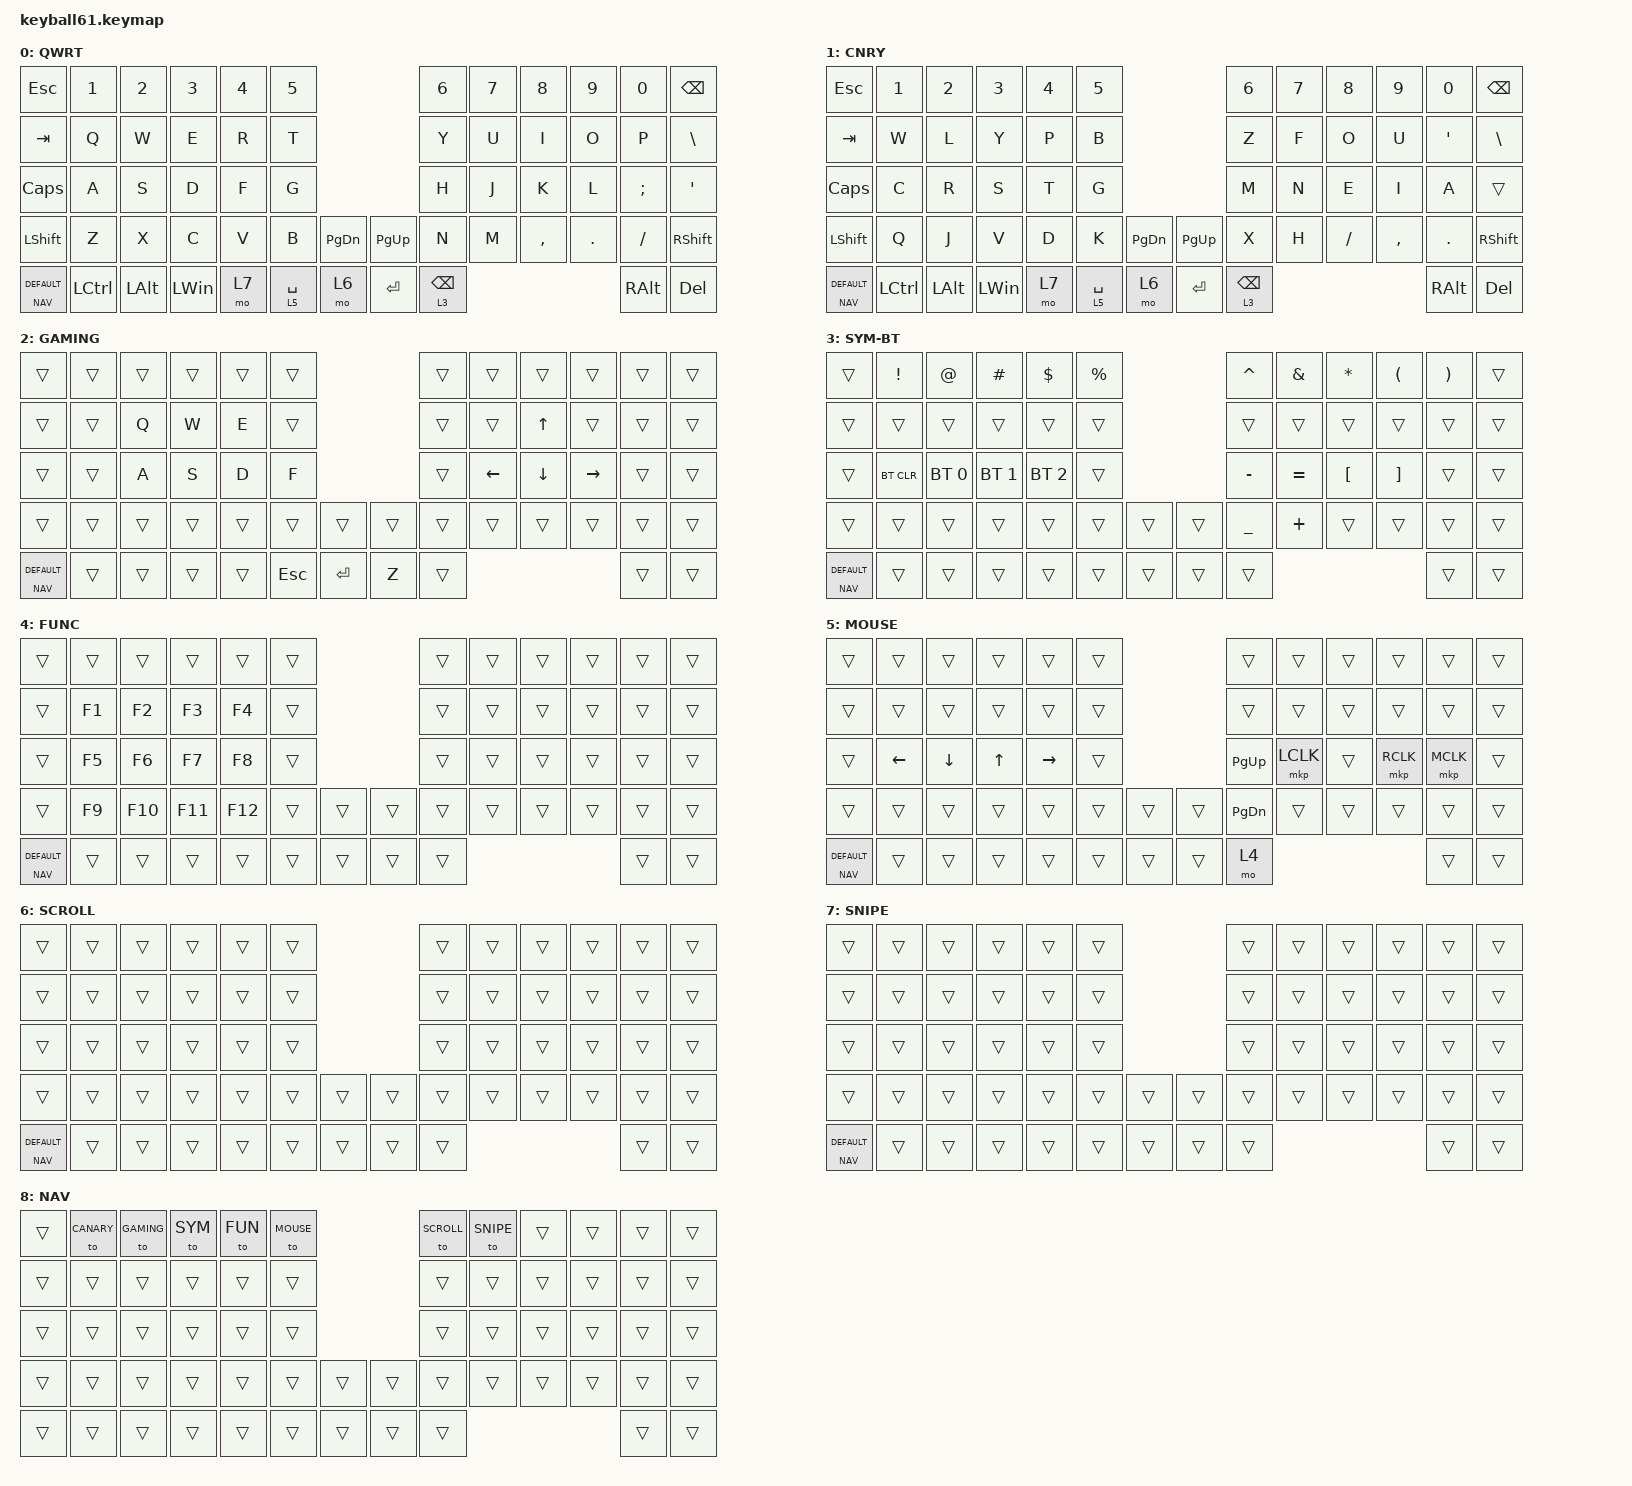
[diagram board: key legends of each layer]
#define DEFAULT 0   
#define CANARY  1
#define GAMING  2
#define SYM     3
#define FUN     4
#define MOUSE   5
#define SCROLL  6
#define SNIPE   7
#define NAV     8

#include <behaviors/mouse_keys.dtsi>
#include <behaviors.dtsi>
#include <dt-bindings/zmk/bt.h>
#include <dt-bindings/zmk/keys.h>
#include <dt-bindings/zmk/mouse.h>

&lt {
    tapping-term-ms = <240>;
    flavor = "balanced";
    quick-tap-ms = <150>;
};

&mt {
    tapping-term-ms = <200>;
    flavor = "tap-preferred";
    quick-tap-ms = <150>;
};

/ {

    behaviors {
        nav_tap: navigation_layer_tap {
            compatible = "zmk,behavior-hold-tap";
            #binding-cells = <2>;
            flavor = "tap-preferred";
            tapping-term-ms = <200>; 
            bindings = <&mo>, <&to>; 
        };
    };



    keymap {
        compatible = "zmk,keymap";

        default_layer {
            label = "QWRT";
            bindings = <
&kp ESC                 &kp N1     &kp N2        &kp N3        &kp N4  &kp N5                                   &kp N6           &kp N7  &kp N8     &kp N9   &kp N0         &kp BSPC
&kp TAB                 &kp Q      &kp W         &kp E         &kp R   &kp T                                    &kp Y            &kp U   &kp I      &kp O    &kp P          &kp BACKSLASH
&kp CAPS                &kp A      &kp S         &kp D         &kp F   &kp G                                    &kp H            &kp J   &kp K      &kp L    &kp SEMI       &kp SQT
&kp LEFT_SHIFT          &kp Z      &kp X         &kp C         &kp V   &kp B        &kp PAGE_DOWN  &kp PAGE_UP  &kp N            &kp M   &kp COMMA  &kp DOT  &kp FSLH       &kp RIGHT_SHIFT
&nav_tap NAV DEFAULT    &kp LCTRL  &kp LEFT_ALT  &kp LEFT_WIN  &mo 7   &lt 5 SPACE  &mo 6          &kp ENTER    &lt 3 BACKSPACE                              &kp RIGHT_ALT  &kp DELETE
            >;
        };

        canary_layer {
            label = "CNRY";
            bindings = <
&kp ESC                 &kp N1     &kp N2        &kp N3        &kp N4  &kp N5                                   &kp N6           &kp N7  &kp N8     &kp N9   	&kp N0         &kp BSPC
&kp TAB                 &kp W      &kp L         &kp Y         &kp P   &kp B                                    &kp Z            &kp F   &kp O      &kp U    	&kp SQT        &kp BACKSLASH
&kp CAPS                &kp C      &kp R         &kp S         &kp T   &kp G                                    &kp M            &kp N   &kp E      &kp I    	&kp A          &trans
&kp LEFT_SHIFT          &kp Q      &kp J         &kp V         &kp D   &kp K        &kp PAGE_DOWN  &kp PAGE_UP  &kp X            &kp H   &kp FSLH   &kp COMMA   &kp DOT        &kp RIGHT_SHIFT
&nav_tap NAV DEFAULT    &kp LCTRL  &kp LEFT_ALT  &kp LEFT_WIN  &mo 7   &lt 5 SPACE  &mo 6          &kp ENTER    &lt 3 BACKSPACE                              	&kp RIGHT_ALT  &kp DELETE
            >;
        };


        gaming_layer {
            label = "GAMING";
            bindings = <
&trans  	        	&trans 	&trans  &trans  &trans  &trans                      &trans  &trans  &trans  &trans  &trans  &trans
&trans          		&trans  &kp Q   &kp W   &kp E   &trans                      &trans  &trans  &kp UP  &trans  &trans  &trans
&trans  	        	&trans  &kp A   &kp S   &kp D   &kp F                       &trans  &kp LEFT  &kp DOWN  &kp RIGHT  &trans  &trans
&trans  		        &trans  &trans  &trans  &trans  &trans      &trans  &trans  &trans  &trans  &trans  &trans  &trans  &trans
&nav_tap NAV DEFAULT	&trans  &trans  &trans  &trans  &kp ESC &kp RET &kp Z   &trans                  &trans  &trans
            >;
        };


        symbol_layer {
            label = "SYM-BT";
            bindings = <
&trans  &kp EXCLAMATION  &kp AT_SIGN   &kp HASH      &kp DOLLAR    &kp PERCENT                  &kp CARET       &kp AMPERSAND  &kp ASTERISK      &kp LEFT_PARENTHESIS  &kp RIGHT_PARENTHESIS  &trans
&trans  &trans           &trans        &trans        &trans        &trans                       &trans          &trans         &trans            &trans                &trans                 &trans
&trans  &bt BT_CLR       &bt BT_SEL 0  &bt BT_SEL 1  &bt BT_SEL 2  &trans                       &kp MINUS       &kp EQUAL      &kp LEFT_BRACKET  &kp RIGHT_BRACKET     &trans                 &trans
&trans  &trans           &trans        &trans        &trans        &trans       &trans  &trans  &kp UNDERSCORE  &kp PLUS       &trans            &trans                &trans                 &trans
&nav_tap NAV DEFAULT  &trans           &trans        &trans        &trans        &trans       &trans  &trans  &trans                                                                 &trans                 &trans
            >;
        };

        function_layer {
            label = "FUNC";
            bindings = <
&trans  &trans  &trans   &trans   &trans   &trans                  &trans  &trans  &trans  &trans  &trans  &trans
&trans  &kp F1  &kp F2   &kp F3   &kp F4   &trans                  &trans  &trans  &trans  &trans  &trans  &trans
&trans  &kp F5  &kp F6   &kp F7   &kp F8   &trans                  &trans  &trans  &trans  &trans  &trans  &trans
&trans  &kp F9  &kp F10  &kp F11  &kp F12  &trans  &trans  &trans  &trans  &trans  &trans  &trans  &trans  &trans
&nav_tap NAV DEFAULT  &trans  &trans   &trans   &trans   &trans  &trans  &trans  &trans                          &trans  &trans
            >;
        };

        mouse_layer {
            label = "MOUSE";
            bindings = <
&trans  &trans    &trans    &trans  &trans     &trans                  &trans         &trans     &trans  &trans     &trans     &trans
&trans  &trans    &trans    &trans  &trans     &trans                  &trans         &trans     &trans  &trans     &trans     &trans
&trans  &kp LEFT  &kp DOWN  &kp UP  &kp RIGHT  &trans                  &kp PAGE_UP    &mkp LCLK  &trans  &mkp RCLK  &mkp MCLK  &trans
&trans  &trans    &trans    &trans  &trans     &trans  &trans  &trans  &kp PAGE_DOWN  &trans     &trans  &trans     &trans     &trans
&nav_tap NAV DEFAULT  &trans    &trans    &trans  &trans     &trans  &trans  &trans  &mo 4                                        &trans     &trans
            >;
        };

        scroll_layer {
            label = "SCROLL";
            bindings = <
&trans  &trans  &trans  &trans  &trans  &trans                  &trans  &trans  &trans  &trans  &trans  &trans
&trans  &trans  &trans  &trans  &trans  &trans                  &trans  &trans  &trans  &trans  &trans  &trans
&trans  &trans  &trans  &trans  &trans  &trans                  &trans  &trans  &trans  &trans  &trans  &trans
&trans  &trans  &trans  &trans  &trans  &trans  &trans  &trans  &trans  &trans  &trans  &trans  &trans  &trans
&nav_tap NAV DEFAULT  &trans  &trans  &trans  &trans  &trans  &trans  &trans  &trans                          &trans  &trans
            >;
        };

        snipe_layer {
            label = "SNIPE";
            bindings = <
&trans  &trans  &trans  &trans  &trans  &trans                  &trans  &trans  &trans  &trans  &trans  &trans
&trans  &trans  &trans  &trans  &trans  &trans                  &trans  &trans  &trans  &trans  &trans  &trans
&trans  &trans  &trans  &trans  &trans  &trans                  &trans  &trans  &trans  &trans  &trans  &trans
&trans  &trans  &trans  &trans  &trans  &trans  &trans  &trans  &trans  &trans  &trans  &trans  &trans  &trans
&nav_tap NAV DEFAULT  &trans  &trans  &trans  &trans  &trans  &trans  &trans  &trans                          &trans  &trans
            >;
        };


        nav_layer {
            label = "NAV";
            bindings = <
&trans  &to CANARY   &to GAMING   &to SYM   &to FUN   &to MOUSE   &to SCROLL   &to SNIPE  &trans  &trans  &trans  &trans
&trans  &trans  &trans  &trans  &trans  &trans                  &trans  &trans  &trans  &trans  &trans  &trans
&trans  &trans  &trans  &trans  &trans  &trans                  &trans  &trans  &trans  &trans  &trans  &trans
&trans  &trans  &trans  &trans  &trans  &trans  &trans  &trans  &trans  &trans  &trans  &trans  &trans  &trans
&trans  &trans  &trans  &trans  &trans  &trans  &trans  &trans  &trans                          &trans  &trans
            >;
        };


    };
};
